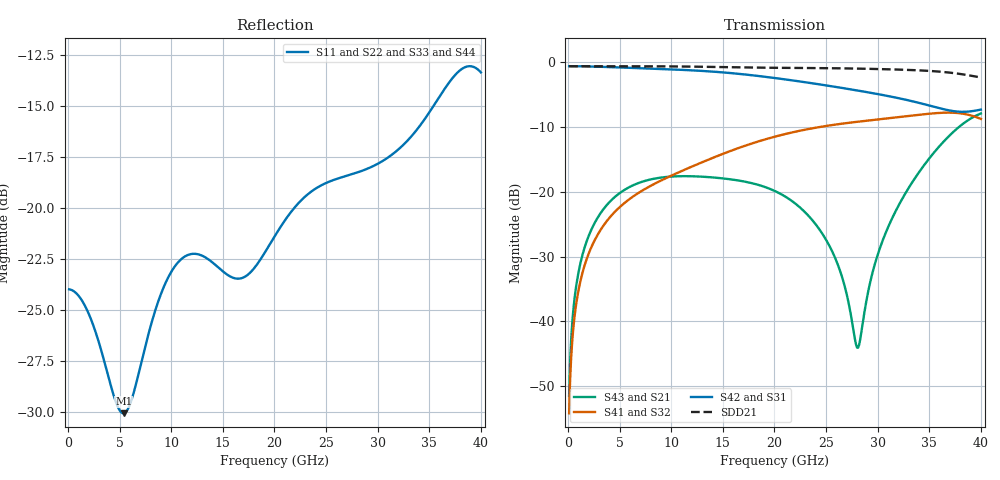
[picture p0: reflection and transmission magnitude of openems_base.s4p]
! E_s8_L1L8_p1000_oval_g2: pair L1→L8, pitch 1 mm, one oval antipad, 2 GND vias
! stackup: 8-layer 1.6 mm FR-4 (generic)
! ports: 1 P near, 2 N near, 3 P far, 4 N far
! openEMS 0.37.0, staircase, base mesh (dfine 0.035 mm), 768105 cells
# Hz S RI R 50
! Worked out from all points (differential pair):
!   400 points, 100 MHz to 40 GHz, reference 50 ohm
!   strongest paths, dB at 100 MHz, 10.1 GHz, 20.1 GHz, 30.1 GHz, 40 GHz:
!     S42: -0.6, -1.1, -2.4, -4.9, -7.3
!     S31: -0.6, -1.1, -2.4, -4.9, -7.3
!     S41: -54.2, -17.4, -11.4, -8.8, -8.7
!     S32: -54.2, -17.4, -11.4, -8.8, -8.7
!     S43: -51.5, -17.6, -19.9, -29.2, -7.9
!     S21: -51.5, -17.6, -19.9, -29.2, -7.9
!   taken as a pair (ports 2,1 in; 4,3 out), SDD21 dB: -0.6, -0.6, -0.8, -1.0, -2.3
!   lowest |S11| = -30.1 dB at 5.4 GHz (marker M1), VSWR 1.06, Z = 53.2 - j0.708 ohm
!   |S11| at or under -10 dB: start of sweep to end of sweep
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1e8  -0.0632 0.00307  0.00126 0.00235  0.9356 -0.0363  0.000794 -0.00178
     0.00126 0.00235  -0.0632 0.00307  0.000794 -0.00178  0.9356 -0.0363
     0.9356 -0.0363  0.000784 -0.00178  -0.0632 0.00307  0.00125 0.00235
     0.000784 -0.00178  0.9356 -0.0363  0.00125 0.00235  -0.0632 0.00307
5.4e9  0.0307 -0.00665  0.0802 -0.0643  -0.4441 -0.7974  -0.0598 0.055
       0.0802 -0.0643  0.0307 -0.00665  -0.0598 0.055  -0.4441 -0.7974
       -0.4441 -0.7974  -0.0598 0.055  0.0307 -0.00665  0.0802 -0.0643
       -0.0598 0.055  -0.4441 -0.7974  0.0802 -0.0643  0.0307 -0.00665
1.17e10  -0.05 0.0584  -0.132 0.00661  -0.1928 0.8501  0.1527 -0.0129
         -0.132 0.00661  -0.05 0.0584  0.1527 -0.0129  -0.1928 0.8501
         -0.1928 0.8501  0.1527 -0.0129  -0.05 0.0584  -0.132 0.00661
         0.1527 -0.0129  -0.1928 0.8501  -0.132 0.00661  -0.05 0.0584
1.6e10  0.0674 -0.00299  0.014 0.1234  0.8173 0.1104  -0.0448 -0.206
        0.014 0.1234  0.0674 -0.00299  -0.0448 -0.206  0.8173 0.1104
        0.8173 0.1104  -0.0448 -0.206  0.0674 -0.00299  0.014 0.1234
        -0.0448 -0.206  0.8173 0.1104  0.014 0.1234  0.0674 -0.00299
2.01e10  -0.063 -0.0585  0.1009 -0.00315  0.0968 -0.7509  -0.2529 0.0885
         0.1009 -0.00315  -0.063 -0.0585  -0.2529 0.0885  0.0968 -0.7509
         0.0968 -0.7509  -0.2529 0.0885  -0.063 -0.0585  0.1009 -0.00315
         -0.2529 0.0885  0.0968 -0.7509  0.1009 -0.00315  -0.063 -0.0585
2.81e10  0.0833 0.0898  -0.00347 0.0052  -0.1438 0.5888  0.2874 -0.1974
         -0.00347 0.0052  0.0833 0.0898  0.2874 -0.1974  -0.1438 0.5888
         -0.1438 0.5888  0.2874 -0.1974  0.0833 0.0898  -0.00347 0.0052
         0.2874 -0.1974  -0.1438 0.5888  -0.00347 0.0052  0.0833 0.0898
4e10  -0.2075 0.0568  -0.2782 0.2921  -0.3219 -0.2885  0.362 0.0542
      -0.2782 0.2921  -0.2075 0.0568  0.362 0.0542  -0.3219 -0.2885
      -0.3219 -0.2885  0.362 0.0542  -0.2075 0.0568  -0.2782 0.2921
      0.362 0.0542  -0.3219 -0.2885  -0.2782 0.2921  -0.2075 0.0568
